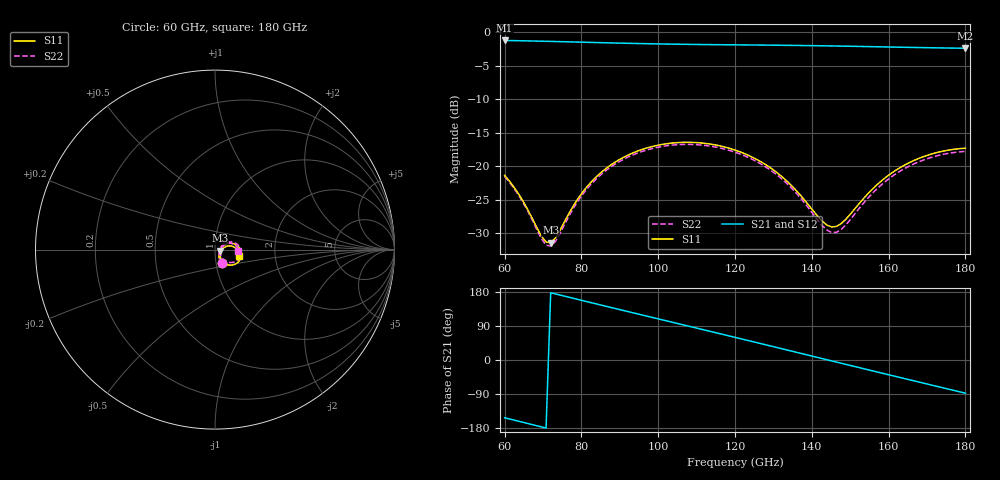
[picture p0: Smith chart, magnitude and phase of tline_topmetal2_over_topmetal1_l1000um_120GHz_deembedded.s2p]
! Created with skrf 2.0.1 (http://scikit-rf.org).
# GHz S DB R 50.0
!freq dBS11 angS11 dBS21 angS21 dBS12 angS12 dBS22 angS22
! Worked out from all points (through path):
!   101 points, 60 GHz to 180 GHz, reference 50 ohm
!   highest |S21| = -1.21 dB at 60 GHz (marker M1); lowest = -2.4 dB at 180 GHz (marker M2)
!   group delay of S21, straight-line fit = 6.83 ps
!   lowest |S11| = -31.4 dB at 72 GHz (marker M3), VSWR 1.06, Z = 52.7 - j0.663 ohm
!   |S11| at or under -10 dB: start of sweep to end of sweep
!   |S22| runs from -31.9 to -16.7 dB; largest |S21 - S12| = 1.4e-15
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60  -21.35 -64.5  -1.21 -152.4  -1.21 -152.4  -21.52 -61.6
64.8  -25.21 -64.6  -1.26 -164.5  -1.26 -164.5  -25.41 -61.8
69.6  -30.44 -42.0  -1.31 -176.5  -1.31 -176.5  -30.81 -39.4
72  -31.41 -13.5  -1.35 177.5  -1.35 177.5  -31.93 -9.9
73.2  -30.73 0.3  -1.36 174.5  -1.36 174.5  -31.25 4.7
80.4  -23.80 26.4  -1.47 156.6  -1.47 156.6  -24.14 31.9
84  -21.50 24.4  -1.52 147.7  -1.52 147.7  -21.81 30.0
88.8  -19.37 18.0  -1.59 135.9  -1.59 135.9  -19.67 23.9
94.8  -17.69 7.7  -1.66 121.2  -1.66 121.2  -17.98 13.9
100.8  -16.76 -3.6  -1.73 106.6  -1.73 106.6  -17.06 3.0
110.4  -16.47 -22.2  -1.81 83.2  -1.81 83.2  -16.78 -15.1
120  -17.57 -40.1  -1.86 59.8  -1.86 59.8  -17.89 -32.5
130.8  -20.88 -55.8  -1.92 33.2  -1.92 33.2  -21.23 -47.9
135.6  -23.40 -57.8  -1.95 21.3  -1.95 21.3  -23.78 -50.1
140.4  -26.67 -50.3  -1.98 9.4  -1.98 9.4  -27.19 -43.0
144  -28.80 -31.8  -2.01 0.5  -2.01 0.5  -29.55 -24.1
146.4  -28.98 -14.3  -2.04 -5.4  -2.04 -5.4  -29.86 -5.3
148.8  -27.95 0.7  -2.06 -11.3  -2.06 -11.3  -28.80 11.1
153.6  -24.73 14.4  -2.11 -23.2  -2.11 -23.2  -25.41 26.0
160.8  -21.00 13.3  -2.19 -40.8  -2.19 -40.8  -21.55 25.2
170.4  -18.30 0.1  -2.29 -64.3  -2.29 -64.3  -18.80 12.5
180  -17.30 -16.3  -2.37 -87.6  -2.37 -87.6  -17.77 -3.5
